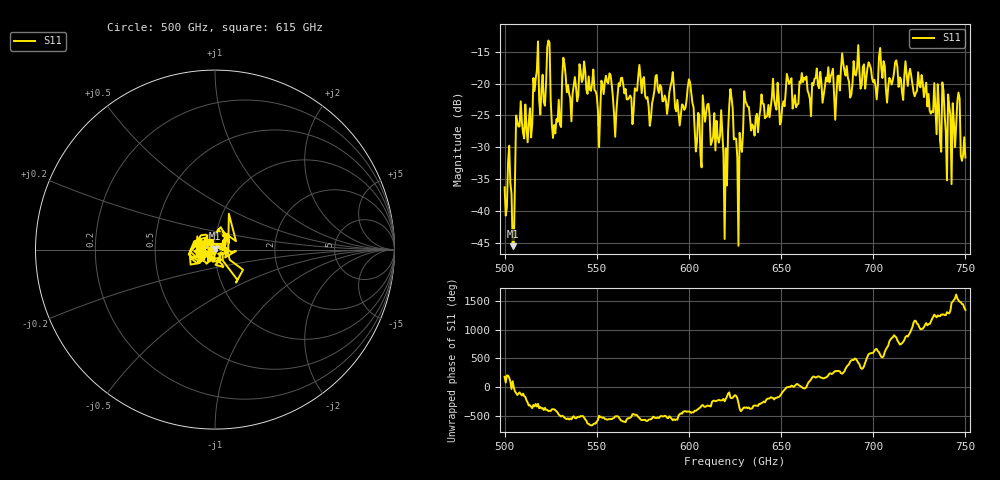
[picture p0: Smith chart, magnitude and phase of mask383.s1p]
!Created with skrf (http://scikit-rf.org).
# GHz S MA R 50.0
!freq magS11 angS11
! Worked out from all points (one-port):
!   401 points, 500 GHz to 750 GHz, reference 50 ohm
!   lowest |S11| = -45.6 dB at 504.4 GHz (marker M1), VSWR 1.01, Z = 49.9 + j0.514 ohm
!   |S11| at or under -10 dB: start of sweep to end of sweep
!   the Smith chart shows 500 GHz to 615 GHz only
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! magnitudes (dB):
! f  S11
! 500 GHz  -36.3
! 504.4 GHz  -45.6
! 507.5 GHz  -26.8
! 513.8 GHz  -23.9
! 516.9 GHz  -19.2
! 520.6 GHz  -18.6
! 523.8 GHz  -13.2
! 526.9 GHz  -26.5
! 531.2 GHz  -18.8
! 556.2 GHz  -19.9
! 560 GHz  -28.4
! 562.5 GHz  -20.4
! 593.8 GHz  -22.6
! 600.6 GHz  -19.8
! 605.6 GHz  -25.0
! 608.8 GHz  -26.0
! 616.9 GHz  -28.2
! 619.4 GHz  -44.4
! 622.5 GHz  -20.9
! 625 GHz  -28.6
! 627.5 GHz  -27.7
! 631.2 GHz  -23.1
! 656.2 GHz  -23.9
! 687.5 GHz  -22.2
! 718.8 GHz  -20.4
! 741.2 GHz  -23.6
! 745.6 GHz  -22.8
! 750 GHz  -31.6
